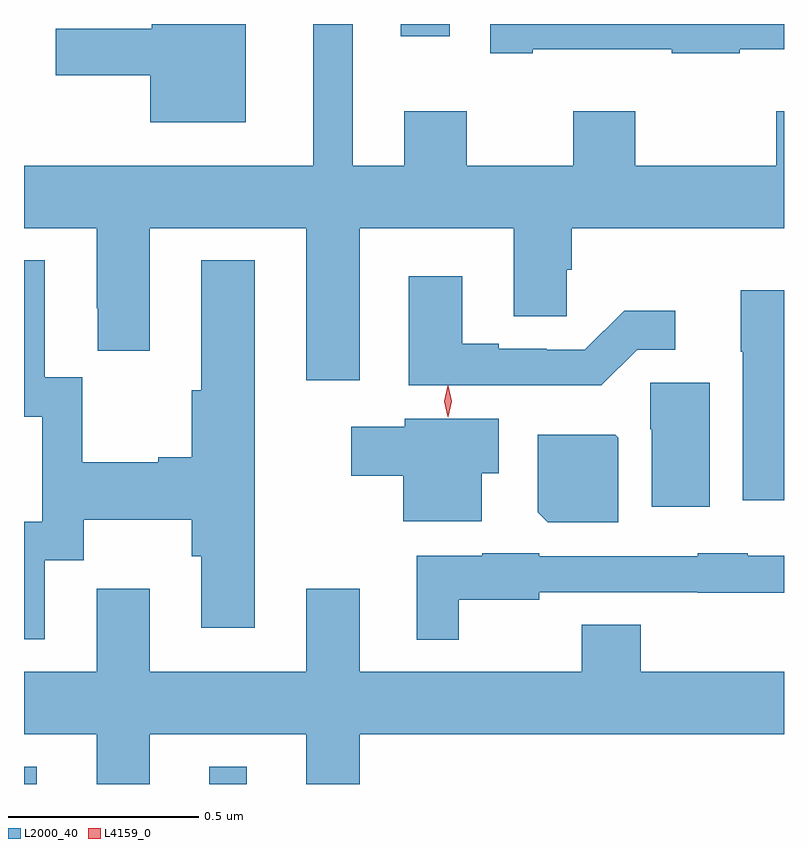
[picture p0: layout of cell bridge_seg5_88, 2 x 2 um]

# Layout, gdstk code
import gdstk
lib = gdstk.Library(unit=1e-6, precision=1e-09)
def R(c, l, rs):  # rectangles x0, y0, x1, y1
    for r in rs: c.add(gdstk.rectangle(r[:2], r[2:], *l))
def P(c, l, *ps):  # polygons
    for p in ps: c.add(gdstk.Polygon(p, *l))
L2000_40 = (2000, 40)
L4159_0 = (4159, 0)

bridge_seg5_88 = lib.new_cell('bridge_seg5_88')
R(bridge_seg5_88, L2000_40, [(186.342,907.245,186.376,907.291), (186.83,907.245,186.928,907.291), (187.334,909.213,187.462,909.245)])
P(bridge_seg5_88, L2000_40, [(187.681,909.179),(188.047,909.179),(188.047,909.168),(188.225,909.168),(188.225,909.179),(188.342,909.179),(188.342,909.245),(187.569,909.245),(187.569,909.168),(187.681,909.168)],
  [(186.342,908.708),(186.533,908.708),(186.533,908.497),(186.536,908.497),(186.536,908.385),(186.673,908.385),(186.673,908.708),(187.085,908.708),(187.085,908.307),(187.225,908.307),(187.225,908.708),(187.631,908.708),(187.631,908.476),(187.77,908.476),(187.77,908.598),(187.784,908.598),(187.784,908.708),(188.342,908.708),(188.342,909.016),(188.321,909.016),(188.321,908.872),(187.951,908.872),(187.951,909.016),(187.787,909.016),(187.787,908.872),(187.507,908.872),(187.507,909.016),(187.343,909.016),(187.343,908.872),(187.207,908.872),(187.207,909.245),(187.103,909.245),(187.103,908.872),(186.342,908.872)],
  [(186.925,909.245),(186.678,909.245),(186.678,909.232),(186.426,909.232),(186.426,909.11),(186.674,909.11),(186.674,908.987),(186.925,908.987)],
  [(186.397,907.834),(186.499,907.834),(186.499,907.94),(186.784,907.94),(186.784,907.845),(186.809,907.845),(186.809,907.656),(186.949,907.656),(186.949,908.623),(186.809,908.623),(186.809,908.281),(186.784,908.281),(186.784,908.105),(186.695,908.105),(186.695,908.092),(186.495,908.092),(186.495,908.315),(186.397,908.315),(186.397,908.623),(186.342,908.623),(186.342,908.211),(186.39,908.211),(186.39,907.935),(186.342,907.935),(186.342,907.626),(186.397,907.626)],
  [(187.956,908.388),(188.056,908.388),(188.056,908.491),(187.921,908.491),(187.818,908.388),(187.718,908.388),(187.718,908.391),(187.591,908.391),(187.591,908.404),(187.495,908.404),(187.495,908.581),(187.355,908.581),(187.355,908.294),(187.861,908.294)],
  [(188.342,908.545),(188.228,908.545),(188.228,908.382),(188.234,908.382),(188.234,907.992),(188.342,907.992)],
  [(188.146,908.301),(187.99,908.301),(187.99,908.178),(187.994,908.178),(187.994,907.974),(188.146,907.974)],
  [(187.546,908.063),(187.591,908.063),(187.591,908.206),(187.344,908.206),(187.344,908.185),(187.203,908.185),(187.203,908.056),(187.34,908.056),(187.34,907.937),(187.546,907.937)],
  [(187.906,908.156),(187.898,908.164),(187.694,908.164),(187.694,907.96),(187.72,907.934),(187.906,907.934)],
  [(187.486,907.73),(187.698,907.73),(187.698,907.749),(188.115,907.749),(188.115,907.748),(188.342,907.748),(188.342,907.846),(188.247,907.846),(188.247,907.852),(188.115,907.852),(188.115,907.845),(187.698,907.845),(187.698,907.852),(187.548,907.852),(187.548,907.846),(187.376,907.846),(187.376,907.625),(187.486,907.625)],
  [(186.673,907.376),(187.085,907.376),(187.085,907.245),(187.225,907.245),(187.225,907.376),(188.342,907.376),(188.342,907.54),(187.965,907.54),(187.965,907.664),(187.81,907.664),(187.81,907.54),(187.225,907.54),(187.225,907.759),(187.085,907.759),(187.085,907.54),(186.673,907.54),(186.673,907.759),(186.533,907.759),(186.533,907.54),(186.342,907.54),(186.342,907.376),(186.533,907.376),(186.533,907.245),(186.673,907.245)])
P(bridge_seg5_88, L4159_0, [(187.458,908.21),(187.457,908.211),(187.448,908.252),(187.457,908.293),(187.458,908.293),(187.458,908.293),(187.467,908.252),(187.458,908.211)])

lib.write_gds('bridge_seg5_88.gds')
